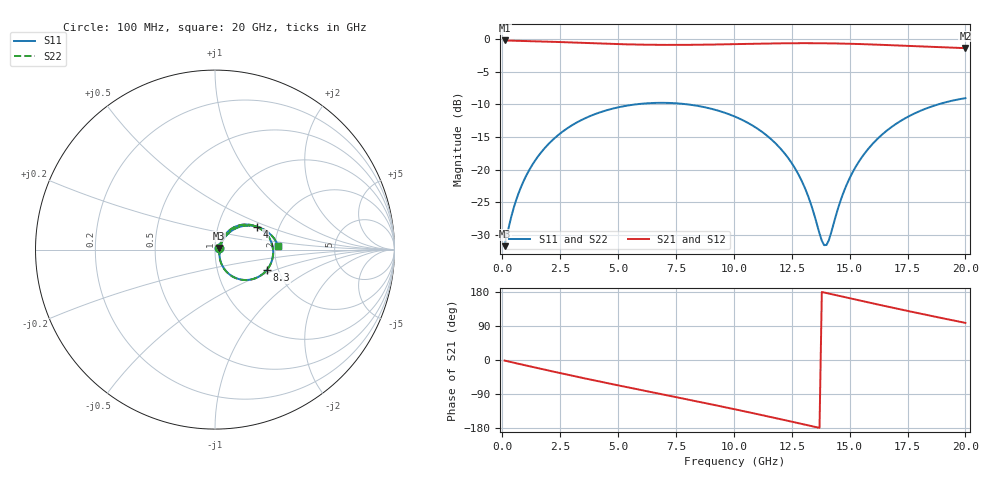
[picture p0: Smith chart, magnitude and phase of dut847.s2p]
! Touchstone file exported from HFSS 2026.1.0
!  File:  C:/ffzhzh/LocalFiles/Ansys_Project_Files/temp_train_TSV_RDL_847_1783268975_39728.aedt
!  Generated:  12:38:52 AM Jul  6, 2026
!  Design:  TSV_RDL
!  Project:  temp_train_TSV_RDL_847_1783268975_39728
! Variables:
!  h_bsmrdl = 4.4um
!  h_ox = 20um
!  h_rdl = 5um
!  h_sub = 89.11um
!  h_tmrdl = 3.64um
!  h_tsv = 89.11um
!  h_via = 3um
!  l_bsmrdl = 989.55um
!  l_sub = 4177.53um
!  l_tmrdl = 178.4um
!  m_sub = 200um
!  pitch = 25.91um
!  r_tsv = 7.97um
!  s_tmrdl = 10um
!  w_bsmrdl = 12.62um
!  w_sub = 500um
!  w_tmrdl = 19.14um
!  x_tsv_center1 = 187.97um
!  x_tsv_center2 = 1190.14um
!  x_tsv_center3 = 1387.68um
!  x_tsv_center4 = 2389.85um
!  x_tsv_center5 = 2587.39um
!  x_tsv_center6 = 3589.56um
# GHz S MA R 50.000000
! Terminal data exported
! Port[1] = TM_RDL1_1_T1
! Port[2] = TM_RDL5_1_T1
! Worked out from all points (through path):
!   200 points, 100 MHz to 20 GHz, reference 50 ohm
!   highest |S21| = -0.21 dB at 100 MHz (marker M1); lowest = -1.4 dB at 20 GHz (marker M2)
!   group delay of S21, straight-line fit = 36.3 ps
!   lowest |S11| = -31.8 dB at 100 MHz (marker M3), VSWR 1.05, Z = 52.5 + j0.947 ohm
!   |S11| at or under -10 dB: start of sweep to 5.788 GHz; 7.972 GHz to 18.84 GHz (10.87 GHz wide, 81.1 % of centre)
!   |S22| runs from -31.8 to -9.1 dB; largest |S21 - S12| = 1.1e-13
!   S11 on the Smith chart (normalised r, x): 100 MHz: 1.05, +0.02; 4 GHz: 1.54, +0.42; 8.3 GHz: 1.74, -0.44; 20 GHz: 2.08, +0.10
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0.1  0.02584 20.4  0.976 -1.5  0.976 -1.5  0.02584 20.4
! Gamma 0 0 0 0
! Port Impedance 50 0 50 0
0.6  0.0584 52.9  0.9708 -8.6  0.9708 -8.6  0.0584 52.9
1.3  0.1089 55.5  0.9638 -18.3  0.9638 -18.3  0.1089 55.5
2.3  0.1766 47.5  0.9513 -31.9  0.9513 -31.9  0.1766 47.5
3.5  0.2435 34.3  0.934 -47.7  0.934 -47.7  0.2435 34.2
4  0.2657 28.5  0.927 -54.2  0.927 -54.2  0.2658 28.4
5.4  0.3092 12.1  0.9111 -71.9  0.9111 -71.9  0.3092 12.1
6.8  0.3246 -4.1  0.903 -89.2  0.903 -89.2  0.3246 -4.1
8.3  0.3104 -21.4  0.904 -107.9  0.904 -107.9  0.3105 -21.4
10.1  0.2521 -42.0  0.9148 -130.8  0.9148 -130.8  0.2521 -42.1
11.3  0.1896 -55.0  0.9235 -146.6  0.9235 -146.6  0.1896 -55.2
12.2  0.1325 -63.1  0.9284 -158.6  0.9284 -158.6  0.1324 -63.3
12.9  0.08398 -65.4  0.9301 -168.2  0.9301 -168.2  0.08385 -65.9
13.4  0.04961 -58.4  0.93 -175.0  0.93 -175.0  0.04933 -59.1
13.8  0.02845 -29.0  0.929 179.5  0.929 179.5  0.02785 -29.7
14  0.02638 1.1  0.9281 176.7  0.9281 176.7  0.02568 1.2
14.7  0.06412 48.9  0.9235 167.1  0.9235 167.1  0.06377 49.5
15.1  0.09304 51.4  0.9197 161.6  0.9197 161.6  0.09277 51.9
15.8  0.1437 48.2  0.9115 152.1  0.9115 152.1  0.1435 48.5
16.7  0.2048 39.9  0.8986 140.1  0.8986 140.1  0.2046 40.1
18.3  0.2934 22.5  0.8737 119.3  0.8737 119.3  0.2933 22.7
20  0.3524 3.5  0.8528 97.9  0.8528 97.9  0.3523 3.6
